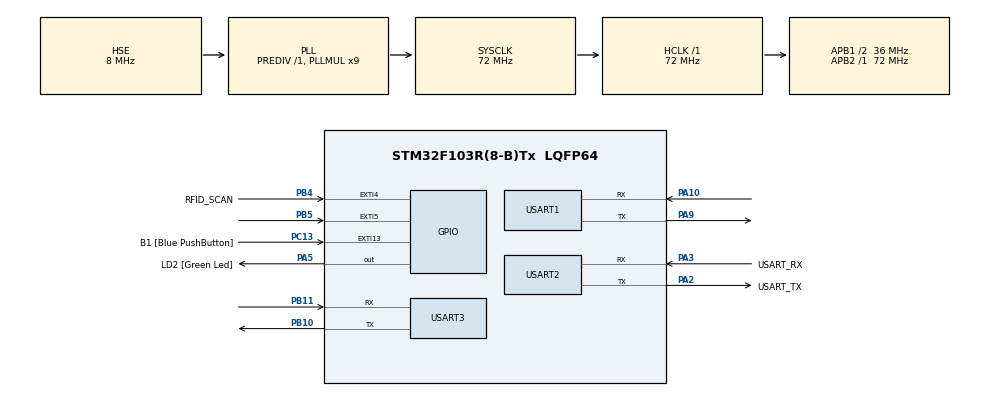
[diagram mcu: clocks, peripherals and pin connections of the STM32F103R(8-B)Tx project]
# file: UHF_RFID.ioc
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Dma.Request0=USART2_RX
Dma.Request1=USART1_RX
Dma.USART1_RX.1.Direction=DMA_PERIPH_TO_MEMORY
Dma.USART1_RX.1.Instance=DMA1_Channel5
Dma.USART1_RX.1.MemDataAlignment=DMA_MDATAALIGN_BYTE
Dma.USART1_RX.1.MemInc=DMA_MINC_ENABLE
Dma.USART1_RX.1.Mode=DMA_CIRCULAR
Dma.USART1_RX.1.PeriphDataAlignment=DMA_PDATAALIGN_BYTE
Dma.USART1_RX.1.PeriphInc=DMA_PINC_DISABLE
Dma.USART1_RX.1.Priority=DMA_PRIORITY_LOW
Dma.USART2_RX.0.Direction=DMA_PERIPH_TO_MEMORY
Dma.USART2_RX.0.Instance=DMA1_Channel6
Dma.USART2_RX.0.MemDataAlignment=DMA_MDATAALIGN_BYTE
Dma.USART2_RX.0.MemInc=DMA_MINC_ENABLE
Dma.USART2_RX.0.Mode=DMA_CIRCULAR
Dma.USART2_RX.0.PeriphDataAlignment=DMA_PDATAALIGN_BYTE
Dma.USART2_RX.0.PeriphInc=DMA_PINC_DISABLE
Dma.USART2_RX.0.Priority=DMA_PRIORITY_LOW
FREERTOS.Tasks01=defaultTask,0,128,StartDefaultTask,Default,NULL,Dynamic,NULL,NULL;rfidExecute,2,128,StartRfidExecute,Default,NULL,Dynamic,NULL,NULL;transmitTask,-3,128,StartTransmitTask,Default,NULL,Dynamic,NULL,NULL
FREERTOS.configTOTAL_HEAP_SIZE=6000
FREERTOS.configUSE_NEWLIB_REENTRANT=1
Mcu.Family=STM32F1
Mcu.Name=STM32F103R(8-B)Tx
Mcu.Package=LQFP64
NVIC.DMA1_Channel5_IRQn=true\:5\:0\:false\:false\:true\:true\:false\:true\:true
NVIC.DMA1_Channel6_IRQn=true\:5\:0\:false\:false\:true\:true\:false\:true\:true
NVIC.EXTI15_10_IRQn=true\:5\:0\:false\:false\:true\:true\:true\:true\:true
NVIC.EXTI4_IRQn=true\:5\:0\:false\:false\:true\:true\:true\:true\:true
NVIC.EXTI9_5_IRQn=true\:5\:0\:false\:false\:true\:true\:true\:true\:true
NVIC.PriorityGroup=NVIC_PRIORITYGROUP_4
NVIC.TIM3_IRQn=true\:15\:0\:false\:false\:true\:false\:false\:true\:true
NVIC.TimeBase=TIM3_IRQn
NVIC.TimeBaseIP=TIM3
NVIC.USART2_IRQn=true\:5\:0\:false\:false\:true\:true\:true\:true\:true
NVIC.USART3_IRQn=true\:5\:0\:false\:false\:true\:true\:true\:true\:true
PA10.Mode=Asynchronous
PA10.Signal=USART1_RX
PA13.GPIO_Label=TMS
PA13.Mode=Serial_Wire
PA13.Signal=SYS_JTMS-SWDIO
PA14.GPIO_Label=TCK
PA14.Mode=Serial_Wire
PA14.Signal=SYS_JTCK-SWCLK
PA2.GPIO_Label=USART_TX
PA2.GPIO_Mode=GPIO_MODE_AF_PP
PA2.GPIO_PuPd=GPIO_NOPULL
PA2.GPIO_Speed=GPIO_SPEED_FREQ_LOW
PA2.Mode=Asynchronous
PA2.Signal=USART2_TX
PA3.GPIO_Label=USART_RX
PA3.GPIO_Mode=GPIO_MODE_AF_PP
PA3.GPIO_PuPd=GPIO_NOPULL
PA3.GPIO_Speed=GPIO_SPEED_FREQ_LOW
PA3.Mode=Asynchronous
PA3.Signal=USART2_RX
PA5.GPIO_Label=LD2 [Green Led]
PA5.GPIO_ModeDefaultOutputPP=GPIO_MODE_OUTPUT_PP
PA5.GPIO_PuPd=GPIO_NOPULL
PA5.GPIO_Speed=GPIO_SPEED_FREQ_LOW
PA5.Signal=GPIO_Output
PA9.Mode=Asynchronous
PA9.Signal=USART1_TX
PB10.Mode=Asynchronous
PB10.Signal=USART3_TX
PB11.Mode=Asynchronous
PB11.Signal=USART3_RX
PB3.GPIO_Label=SWO
PB3.Signal=SYS_JTDO-TRACESWO
PB4.GPIO_Label=RFID_SCAN
PB4.GPIO_PuPd=GPIO_PULLUP
PB4.Signal=GPXTI4
PB5.GPIO_PuPd=GPIO_PULLUP
PB5.Signal=GPXTI5
PC13-TAMPER-RTC.GPIO_Label=B1 [Blue PushButton]
PC13-TAMPER-RTC.GPIO_PuPd=GPIO_NOPULL
PC13-TAMPER-RTC.Signal=GPXTI13
PC14-OSC32_IN.Mode=LSE-External-Oscillator
PC14-OSC32_IN.Signal=RCC_OSC32_IN
PC15-OSC32_OUT.Mode=LSE-External-Oscillator
PC15-OSC32_OUT.Signal=RCC_OSC32_OUT
PD0-OSC_IN.Mode=HSE-External-Oscillator
PD0-OSC_IN.Signal=RCC_OSC_IN
PD1-OSC_OUT.Mode=HSE-External-Oscillator
PD1-OSC_OUT.Signal=RCC_OSC_OUT
ProjectManager.HeapSize=0x200
ProjectManager.StackSize=0x400
ProjectManager.TargetToolchain=STM32CubeIDE
RCC.AHBFreq_Value=72000000
RCC.APB1CLKDivider=RCC_HCLK_DIV2
RCC.APB1Freq_Value=36000000
RCC.APB1TimFreq_Value=72000000
RCC.APB2Freq_Value=72000000
RCC.APB2TimFreq_Value=72000000
RCC.HCLKFreq_Value=72000000
RCC.PLLMUL=RCC_PLL_MUL9
RCC.PLLSourceVirtual=RCC_PLLSOURCE_HSE
RCC.RTCClockSelection=RCC_RTCCLKSOURCE_LSE
RCC.SYSCLKFreq_VALUE=72000000
RCC.SYSCLKSource=RCC_SYSCLKSOURCE_PLLCLK
RCC.USBFreq_Value=72000000
USART1.VirtualMode=VM_ASYNC
USART2.VirtualMode=VM_ASYNC
USART3.VirtualMode=VM_ASYNC
VP_FREERTOS_VS_CMSIS_V1.Mode=CMSIS_V1
VP_SYS_VS_tim3.Mode=TIM3
board=NUCLEO-F103RB

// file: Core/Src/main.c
/* USER CODE BEGIN Header */
/**
  ******************************************************************************
  * @file           : main.c
  * @brief          : Main program body
  ******************************************************************************
  * @attention
  *
  * Copyright (c) 2024 STMicroelectronics.
  * All rights reserved.
  *
  * This software is licensed under terms that can be found in the LICENSE file
  * in the root directory of this software component.
  * If no LICENSE file comes with this software, it is provided AS-IS.
  *
  ******************************************************************************
  */
/* USER CODE END Header */
#include "main.h"
#include "cmsis_os.h"
#include "dma.h"
#include "usart.h"
#include "gpio.h"

/* USER CODE BEGIN Includes */
#include "uart_receive_dma.h"
/* USER CODE END Includes */

void SystemClock_Config(void);
void MX_FREERTOS_Init(void);

int main(void)
{

  /* MCU Configuration--------------------------------------------------------*/

  /* Reset of all peripherals, Initializes the Flash interface and the Systick. */
  HAL_Init();

  /* Configure the system clock */
  SystemClock_Config();

  /* Initialize all configured peripherals */
  MX_GPIO_Init();
  MX_DMA_Init();
  MX_USART2_UART_Init();
  MX_USART1_UART_Init();
  MX_USART3_UART_Init();
  /* USER CODE BEGIN 2 */
  uart_init();
  /* USER CODE END 2 */

  /* Call init function for freertos objects (in freertos.c) */
  MX_FREERTOS_Init();

  /* Start scheduler */
  osKernelStart();

  /* We should never get here as control is now taken by the scheduler */
  /* Infinite loop */
  while (1)
  {

  }
}

void SystemClock_Config(void)
{
  RCC_OscInitTypeDef RCC_OscInitStruct = {0};
  RCC_ClkInitTypeDef RCC_ClkInitStruct = {0};

  /** Initializes the RCC Oscillators according to the specified parameters
  * in the RCC_OscInitTypeDef structure.
  */
  RCC_OscInitStruct.OscillatorType = RCC_OSCILLATORTYPE_HSE;
  RCC_OscInitStruct.HSEState = RCC_HSE_ON;
  RCC_OscInitStruct.HSEPredivValue = RCC_HSE_PREDIV_DIV1;
  RCC_OscInitStruct.HSIState = RCC_HSI_ON;
  RCC_OscInitStruct.PLL.PLLState = RCC_PLL_ON;
  RCC_OscInitStruct.PLL.PLLSource = RCC_PLLSOURCE_HSE;
  RCC_OscInitStruct.PLL.PLLMUL = RCC_PLL_MUL9;
  if (HAL_RCC_OscConfig(&RCC_OscInitStruct) != HAL_OK)
  {
    Error_Handler();
  }

  /** Initializes the CPU, AHB and APB buses clocks
  */
  RCC_ClkInitStruct.ClockType = RCC_CLOCKTYPE_HCLK|RCC_CLOCKTYPE_SYSCLK
                              |RCC_CLOCKTYPE_PCLK1|RCC_CLOCKTYPE_PCLK2;
  RCC_ClkInitStruct.SYSCLKSource = RCC_SYSCLKSOURCE_PLLCLK;
  RCC_ClkInitStruct.AHBCLKDivider = RCC_SYSCLK_DIV1;
  RCC_ClkInitStruct.APB1CLKDivider = RCC_HCLK_DIV2;
  RCC_ClkInitStruct.APB2CLKDivider = RCC_HCLK_DIV1;

  if (HAL_RCC_ClockConfig(&RCC_ClkInitStruct, FLASH_LATENCY_2) != HAL_OK)
  {
    Error_Handler();
  }
}

void HAL_TIM_PeriodElapsedCallback(TIM_HandleTypeDef *htim)
{
  if (htim->Instance == TIM3) {
    HAL_IncTick();
  }
}

void Error_Handler(void)
{
  __disable_irq();
  while (1)
  {
  }
}

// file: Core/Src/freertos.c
/* USER CODE BEGIN Header */
/**
  ******************************************************************************
  * File Name          : freertos.c
  * Description        : Code for freertos applications
  ******************************************************************************
  * @attention
  *
  * Copyright (c) 2024 STMicroelectronics.
  * All rights reserved.
  *
  * This software is licensed under terms that can be found in the LICENSE file
  * in the root directory of this software component.
  * If no LICENSE file comes with this software, it is provided AS-IS.
  *
  ******************************************************************************
  */
/* USER CODE END Header */

#include "FreeRTOS.h"
#include "task.h"
#include "main.h"
#include "cmsis_os.h"

/* USER CODE BEGIN Includes */
#include "uart_receive_dma.h"
#include "usart.h"
/* USER CODE END Includes */

/* USER CODE BEGIN PD */
#define transmitSignal 0x0001
/* USER CODE END PD */

/* USER CODE BEGIN Variables */
extern UART_HandleTypeDef huart1;
extern UART_HandleTypeDef huart2;
extern queue8_t uart_queue;

uint8_t canTxData[8];
uint32_t	TxMailBox;

/* USER CODE END Variables */
osThreadId defaultTaskHandle;
osThreadId rfidExecuteHandle;
osThreadId transmitTaskHandle;

void StartDefaultTask(void const * argument);
void StartRfidExecute(void const * argument);
void StartTransmitTask(void const * argument);

void MX_FREERTOS_Init(void); /* (MISRA C 2004 rule 8.1) */

/* GetIdleTaskMemory prototype (linked to static allocation support) */
void vApplicationGetIdleTaskMemory( StaticTask_t **ppxIdleTaskTCBBuffer, StackType_t **ppxIdleTaskStackBuffer, uint32_t *pulIdleTaskStackSize );

/* USER CODE BEGIN GET_IDLE_TASK_MEMORY */
static StaticTask_t xIdleTaskTCBBuffer;
static StackType_t xIdleStack[configMINIMAL_STACK_SIZE];

void vApplicationGetIdleTaskMemory( StaticTask_t **ppxIdleTaskTCBBuffer, StackType_t **ppxIdleTaskStackBuffer, uint32_t *pulIdleTaskStackSize )
{
  *ppxIdleTaskTCBBuffer = &xIdleTaskTCBBuffer;
  *ppxIdleTaskStackBuffer = &xIdleStack[0];
  *pulIdleTaskStackSize = configMINIMAL_STACK_SIZE;
  /* place for user code */
}
/* USER CODE END GET_IDLE_TASK_MEMORY */

void MX_FREERTOS_Init(void) {

  /* Create the thread(s) */
  /* definition and creation of defaultTask */
  osThreadDef(defaultTask, StartDefaultTask, osPriorityNormal, 0, 128);
  defaultTaskHandle = osThreadCreate(osThread(defaultTask), NULL);

  /* definition and creation of rfidExecute */
  osThreadDef(rfidExecute, StartRfidExecute, osPriorityHigh, 0, 128);
  rfidExecuteHandle = osThreadCreate(osThread(rfidExecute), NULL);

  /* definition and creation of transmitTask */
  osThreadDef(transmitTask, StartTransmitTask, osPriorityIdle, 0, 128);
  transmitTaskHandle = osThreadCreate(osThread(transmitTask), NULL);

}

void StartDefaultTask(void const * argument)
{
  /* USER CODE BEGIN StartDefaultTask */
  /* Infinite loop */
  for(;;)
  {
	  read_rfid_number();
	  osDelay(1);
  }
  /* USER CODE END StartDefaultTask */
}

void StartRfidExecute(void const * argument)
{
  /* USER CODE BEGIN StartRfidExecute */
  uint8_t read_tag_single_time[] = {0xBB, 0x00, 0x22, 0x00, 0x00, 0x22, 0x7E};

  /* Infinite loop */
  for(;;)
  {
	HAL_UART_Transmit(&huart1, read_tag_single_time, sizeof(read_tag_single_time), HAL_MAX_DELAY);
    osDelay(600);
  }
  /* USER CODE END StartRfidExecute */
}

void StartTransmitTask(void const * argument)
{
  /* USER CODE BEGIN StartTransmitTask */
  /* Infinite loop */
  osEvent event;
  for(;;)
  {

	event = osSignalWait(transmitSignal, 100);
	if(event.value.signals == transmitSignal){
		transmitData();
		}
	}

    osDelay(1);

  /* USER CODE END StartTransmitTask */
}
